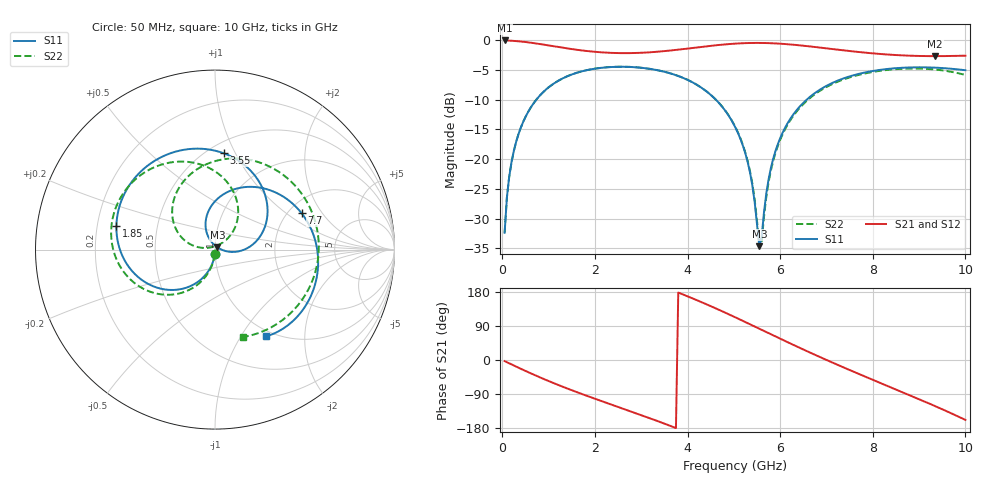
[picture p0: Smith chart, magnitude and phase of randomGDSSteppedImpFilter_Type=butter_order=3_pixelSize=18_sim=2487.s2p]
! freq	dB(S11)	phase(S11)	dB(S12)	phase(S12)
!  dB(S21)	phase(S21)	dB(S22)	phase(S22)
!S-par simulation data
#  GHz  S  DB  R 50
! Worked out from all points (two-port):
!   200 points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, 50 MHz to 10 GHz, reference 50 ohm
!   highest |S21| = -0.01 dB at 50 MHz (marker M1); lowest = -2.6 dB at 9.35 GHz (marker M2)
!   |S21| within 3 dB of the highest: start of sweep to end of sweep
!   lowest |S11| = -34.6 dB at 5.55 GHz (marker M3), VSWR 1.04, Z = 51.4 + j1.27 ohm
!   |S11| at or under -10 dB: start of sweep to 733.8 MHz; 4.614 GHz to 6.569 GHz (1.956 GHz wide, 35 % of centre)
!   |S22| runs from -34.4 to -4.4 dB; largest |S21 - S12| = 0
!   S11 on the Smith chart (normalised r, x): 50 MHz: 1.00, -0.05; 1.85 GHz: 0.28, +0.11; 3.55 GHz: 0.60, +0.90; 7.7 GHz: 2.35, +1.31; 10 GHz: 0.92, -1.30
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0.05  -32.40 -93.2  -0.01 -3.0  -0.01 -3.0  -32.40 -92.8
0.1  -26.40 -96.5  -0.02 -5.9  -0.02 -5.9  -26.40 -95.8
0.2  -20.46 -102.9  -0.06 -11.7  -0.06 -11.7  -20.46 -101.5
0.5  -12.90 -121.2  -0.27 -28.8  -0.27 -28.8  -12.90 -117.5
1.1  -7.33 -155.1  -0.97 -60.6  -0.97 -60.6  -7.32 -146.9
1.75  -5.14 171.6  -1.72 -91.2  -1.72 -91.2  -5.14 -175.0
1.85  -4.97 166.8  -1.81 -95.6  -1.81 -95.6  -4.96 -179.0
2.7  -4.45 126.4  -2.14 -132.3  -2.14 -132.3  -4.44 148.2
3.4  -5.10 92.3  -1.87 -163.2  -1.87 -163.2  -5.09 121.0
3.55  -5.38 84.6  -1.76 -170.2  -1.76 -170.2  -5.37 115.0
4.35  -8.24 41.6  -1.04 150.2  -1.04 150.2  -8.23 80.8
5.05  -14.92 2.4  -0.53 111.6  -0.53 111.6  -14.86 49.6
5.35  -22.28 -8.7  -0.43 94.2  -0.43 94.2  -22.05 41.3
5.55  -34.65 41.7  -0.42 82.6  -0.42 82.6  -34.42 85.5
5.6  -33.10 88.7  -0.43 79.6  -0.43 79.6  -33.95 135.4
5.75  -23.39 117.6  -0.46 70.9  -0.46 70.9  -23.88 171.7
5.95  -17.46 112.8  -0.53 59.2  -0.53 59.2  -17.77 169.1
6.7  -9.15 73.3  -1.06 16.5  -1.06 16.5  -9.35 133.9
7.7  -5.63 22.9  -1.96 -36.8  -1.96 -36.8  -5.80 81.1
8.35  -4.78 -5.3  -2.39 -70.1  -2.39 -70.1  -4.94 44.6
9.35  -4.59 -41.4  -2.65 -121.9  -2.65 -121.9  -4.91 -19.5
10  -5.01 -59.5  -2.57 -158.1  -2.57 -158.1  -5.81 -72.1
